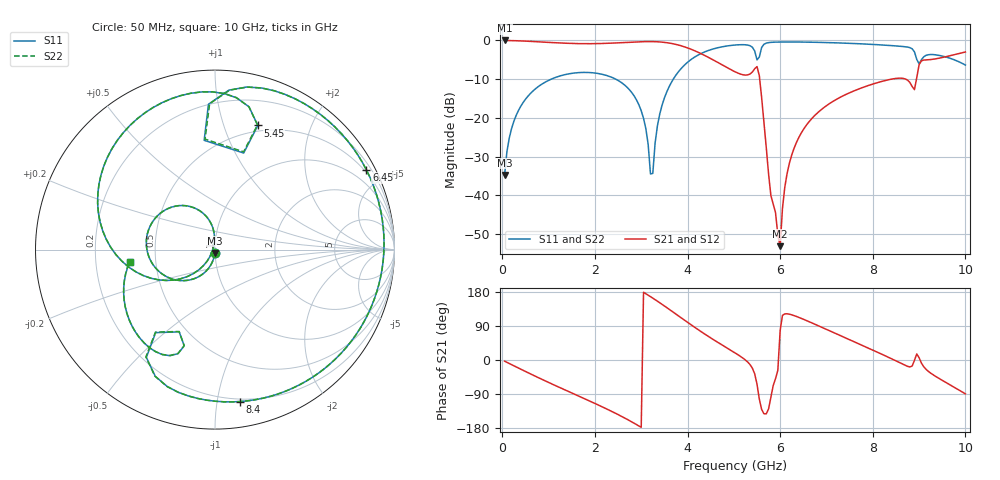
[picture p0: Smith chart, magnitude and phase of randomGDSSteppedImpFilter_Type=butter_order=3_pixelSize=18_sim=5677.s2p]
! freq	dB(S11)	phase(S11)	dB(S12)	phase(S12)
!  dB(S21)	phase(S21)	dB(S22)	phase(S22)
!S-par simulation data
#  GHz  S  DB  R 50
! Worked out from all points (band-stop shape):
!   200 points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, 50 MHz to 10 GHz, reference 50 ohm
!   highest |S21| = -0.01 dB at 50 MHz (marker M1); lowest = -53.1 dB at 6 GHz (marker M2)
!   |S21| within 3 dB of the highest: start of sweep to 4.219 GHz; 9.991555 GHz to end of sweep
!   lowest |S11| = -34.7 dB at 50 MHz (marker M3), VSWR 1.04, Z = 49.9 - j1.83 ohm
!   |S11| at or under -10 dB: start of sweep to 1.055 GHz; 2.451 GHz to 3.692 GHz (1.241 GHz wide, 40.4 % of centre)
!   |S22| runs from -34.7 to -0.4 dB; largest |S21 - S12| = 0
!   S11 on the Smith chart (normalised r, x): 50 MHz: 1.00, -0.04; 5.45 GHz: 0.44, +1.31; 6.45 GHz: 0.41, +4.01; 8.4 GHz: 0.18, -1.16; 10 GHz: 0.35, -0.06
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0.05  -34.71 -93.0  -0.01 -3.1  -0.01 -3.1  -34.71 -93.0
0.2  -22.75 -102.5  -0.04 -12.2  -0.04 -12.2  -22.75 -102.5
0.5  -15.18 -120.7  -0.18 -30.3  -0.18 -30.3  -15.18 -120.7
1.75  -8.25 168.9  -0.83 -100.7  -0.83 -100.7  -8.25 168.9
2.85  -14.37 104.7  -0.39 -167.0  -0.39 -167.0  -14.38 104.7
3.1  -22.77 92.1  -0.29 174.9  -0.29 174.9  -22.77 92.1
3.2  -34.46 113.1  -0.29 167.2  -0.29 167.2  -34.48 113.1
3.4  -18.99 -125.9  -0.39 151.1  -0.39 151.1  -18.99 -126.0
4.3  -3.33 162.5  -3.46 74.2  -3.46 74.2  -3.33 162.4
5.05  -1.16 106.3  -8.23 16.9  -8.23 16.9  -1.16 106.2
5.45  -2.72 71.0  -7.31 -36.4  -7.31 -36.4  -2.69 71.2
5.6  -1.82 92.6  -14.71 -130.4  -14.71 -130.4  -1.80 92.1
5.8  -0.50 69.7  -40.00 -98.0  -40.00 -98.0  -0.50 69.5
6  -0.41 55.3  -53.09 77.9  -53.09 77.9  -0.41 55.1
6.15  -0.39 45.8  -34.32 121.9  -34.32 121.9  -0.39 45.6
6.45  -0.41 27.7  -24.00 110.2  -24.00 110.2  -0.41 27.5
6.7  -0.46 13.3  -19.94 97.1  -19.94 97.1  -0.46 13.1
8.35  -1.29 -77.7  -10.12 6.5  -10.12 6.5  -1.29 -77.8
8.4  -1.33 -80.6  -9.99 3.6  -9.99 3.6  -1.33 -80.8
8.9  -2.95 -122.5  -12.69 -0.9  -12.69 -0.9  -2.96 -122.8
9.1  -4.22 -109.5  -5.07 -17.7  -5.07 -17.7  -4.23 -109.6
10  -6.36 -171.6  -2.98 -89.4  -2.98 -89.4  -6.36 -171.8
